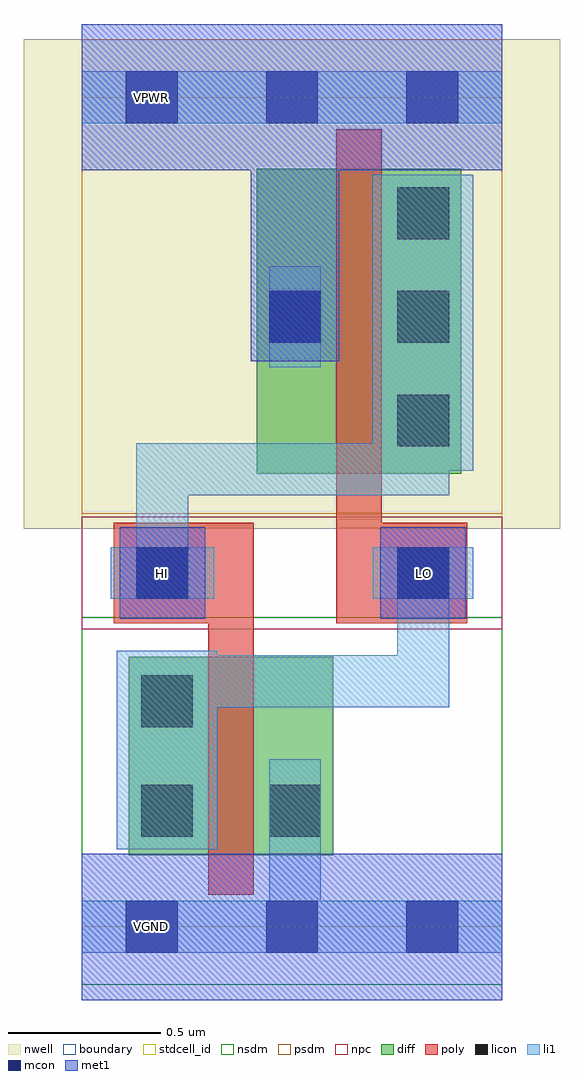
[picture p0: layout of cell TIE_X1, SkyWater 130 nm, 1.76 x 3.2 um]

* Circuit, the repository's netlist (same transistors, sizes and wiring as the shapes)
.subckt TIE_X1 HI LO VPWR VGND VNB
M0 HI LO VPWR nwell_i sky130_fd_pr__pfet_01v8 L=0.15u W=1.0u
M1 LO HI VGND VNB sky130_fd_pr__nfet_01v8 L=0.15u W=0.65u
.ends

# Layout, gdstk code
import gdstk
lib = gdstk.Library(unit=1e-6, precision=1e-09)
def R(c, l, rs):  # rectangles x0, y0, x1, y1
    for r in rs: c.add(gdstk.rectangle(r[:2], r[2:], *l))
def A(c, l, x, y, w, h, nx, ny, dx, dy):  # array of equal rectangles
    R(c, l, [(x+i*dx, y+j*dy, x+i*dx+w, y+j*dy+h) for i in range(nx) for j in range(ny)])
nwell = (64, 20)
diff = (65, 20)
poly = (66, 20)
licon = (66, 44)
li1 = (67, 20)
mcon = (67, 44)
met1 = (68, 20)
stdcell_id = (81, 4)
nsdm = (93, 44)
psdm = (94, 20)
npc = (95, 20)
boundary = (235, 4)

tie_x1 = lib.new_cell('TIE_X1')
R(tie_x1, nwell, [(-0.19,1.305,1.57,2.91)])
R(tie_x1, diff, [(0.155,0.235,0.825,0.885), (0.575,1.485,1.245,2.485)])
R(tie_x1, poly, [(0.415,0.105,0.565,1.325), (0.105,0.995,0.415,1.325), (0.835,0.995,0.985,2.615), (0.975,0.995,1.265,1.325)])
A(tie_x1, licon, 1.035, 1.575, 0.17, 0.17, 1, 3, 0, 0.34)
R(tie_x1, licon, [(0.195,0.295,0.365,0.465), (0.615,0.295,0.785,0.465), (0.195,0.655,0.365,0.825), (0.18,1.075,0.35,1.245), (1.035,1.075,1.205,1.245), (0.615,1.915,0.785,2.085)])
R(tie_x1, li1, [(0,-0.085,1.38,0.085), (0.615,0,0.785,0.55), (0.115,0.255,0.445,0.905), (0.195,0.72,1.205,0.89), (1.035,0.72,1.205,1.245), (0.095,1.075,0.435,1.245), (0.18,1.075,0.35,1.585), (0.955,1.075,1.285,1.245), (0.18,1.415,1.205,1.585), (0.955,1.495,1.285,2.465), (0.615,1.835,0.785,2.165), (0,2.635,1.38,2.805)])
A(tie_x1, mcon, 0.145, -0.085, 0.17, 0.17, 3, 2, 0.46, 2.72)
R(tie_x1, mcon, [(0.18,1.075,0.35,1.245), (1.035,1.075,1.205,1.245), (0.615,1.915,0.785,2.085)])
R(tie_x1, met1, [(0,-0.24,1.38,0.24), (0.125,1.01,0.405,1.31), (0.98,1.01,1.26,1.31), (0.555,1.855,0.845,2.96), (0,2.48,1.38,2.96)])
R(tie_x1, stdcell_id, [(0,0,1.38,2.72)])
R(tie_x1, nsdm, [(0,-0.19,1.38,1.015)])
R(tie_x1, psdm, [(0,1.355,1.38,2.91)])
R(tie_x1, npc, [(0,0.975,1.38,1.345)])
R(tie_x1, boundary, [(0,0,1.38,2.72)])
tie_x1.add(gdstk.Label('VPWR', (0.23,2.72), layer=68, texttype=5))
tie_x1.add(gdstk.Label('VGND', (0.23,0), layer=68, texttype=5))
tie_x1.add(gdstk.Label('HI', (0.265,1.16), layer=68, texttype=5))
tie_x1.add(gdstk.Label('LO', (1.12,1.16), layer=68, texttype=5))

lib.write_gds('TIE_X1.gds')
